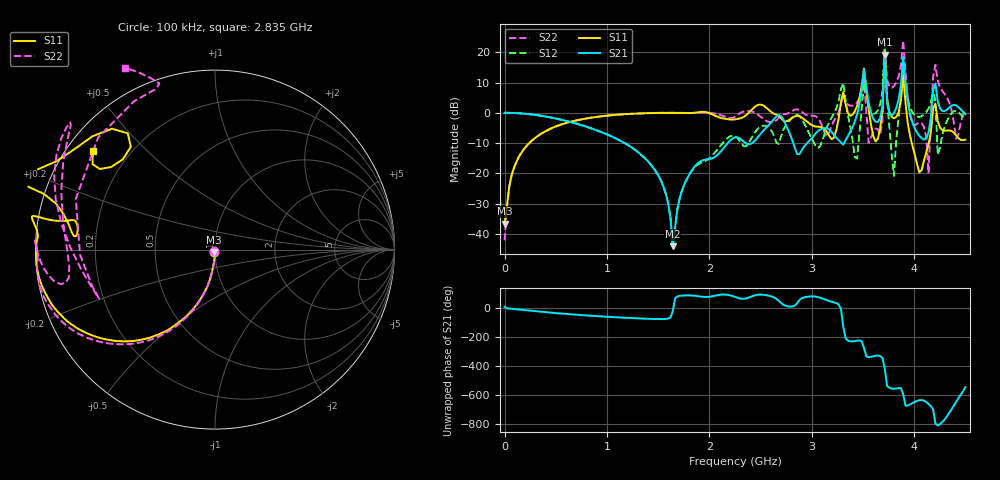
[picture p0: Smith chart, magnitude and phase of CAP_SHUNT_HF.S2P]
!Agilent Technologies,E5071C,MY46101151,A.11.02
!Date: Sun Sep 24 17:04:33 2017
!Data & Calibration Information:
!Freq	S11:SOLT2(ON)	S21:SOLT2(ON)	S12:SOLT2(ON)	S22:SOLT2(ON)
!PortZ  Port1:50+j0  Port2:50+j0
!Above PortZ is port z conversion or system Z0 setting when saving the data.
!When reading, reference impedance value at option line is always used.
# Hz S dB R 50
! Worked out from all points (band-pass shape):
!   201 points, 100 kHz to 4.5 GHz, reference 50 ohm
!   highest |S21| = 19.21 dB at 3.713 GHz (marker M1); lowest = -44.1 dB at 1.643 GHz (marker M2)
!   |S21| within 3 dB of the highest: 3.708544 GHz to 3.716837 GHz (8.292 MHz wide, 0.223 % of centre); 3.88699 GHz to 3.898604 GHz (11.61 MHz wide, 0.298 % of centre)
!   lowest |S11| = -36.6 dB at 100 kHz (marker M3), VSWR 1.03, Z = 49.2 - j1.24 ohm
!   |S11| at or under -10 dB: start of sweep to 241.4 MHz; 3.977 GHz to 4.142 GHz (165.8 MHz wide, 4.08 % of centre)
!   |S22| runs from -42.2 to 23.9 dB; largest |S21 - S12| = 12
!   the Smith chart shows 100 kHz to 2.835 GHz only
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100000  -36.60 -121.9  -0.03 8.9  0.02 9.0  -42.18 -111.7
7.65083e8  -2.07 -140.6  -4.24 -48.7  -4.25 -48.7  -2.08 -138.3
1.507566e9  -0.04 -173.1  -21.12 -75.3  -21.11 -75.3  -0.04 -167.6
1.642564e9  -0.03 -178.2  -44.09 -20.4  -44.07 -20.3  -0.02 -172.1
2.25005e9  -2.19 174.4  -8.13 77.2  -7.67 62.8  -1.31 169.8
3.015033e9  -4.35 121.1  -7.75 80.7  -9.58 20.0  -0.96 173.0
3.442524e9  2.24 135.9  -0.53 135.9  -15.16 -153.5  3.39 144.0
3.510022e9  14.62 104.9  14.21 85.1  10.02 103.6  10.73 107.0
3.555021e9  1.12 59.7  3.29 22.3  2.31 33.6  -9.92 -13.1
3.667518e9  -5.25 174.4  -1.81 29.8  2.89 52.5  -7.26 -63.4
3.690018e9  1.15 -168.3  2.23 18.0  7.21 54.9  -2.81 -135.4
3.712518e9  19.91 152.7  19.21 -54.3  23.18 2.7  22.49 146.6
3.735017e9  4.83 65.1  3.59 -174.8  4.53 -95.9  10.97 47.3
3.757516e9  0.36 79.0  -0.34 172.0  -4.53 -89.7  8.57 56.3
3.870014e9  3.84 135.3  8.97 170.2  5.40 91.1  15.63 122.4
3.892514e9  12.60 90.1  18.57 127.5  16.89 45.4  23.91 90.2
3.915013e9  3.32 7.5  9.87 49.6  9.69 -35.6  13.49 25.3
3.937512e9  -3.56 4.6  3.34 50.3  4.45 -37.4  4.91 44.8
4.185007e9  1.40 -120.0  7.61 22.8  8.00 45.0  11.99 152.7
4.207506e9  3.04 162.4  9.67 -74.6  3.47 -39.0  15.84 72.3
4.342504e9  -5.82 -111.7  1.72 -0.1  -1.28 -158.6  3.42 -147.4
4.5e9  -8.88 43.9  -0.42 176.5  -2.51 -3.2  0.54 -121.7
